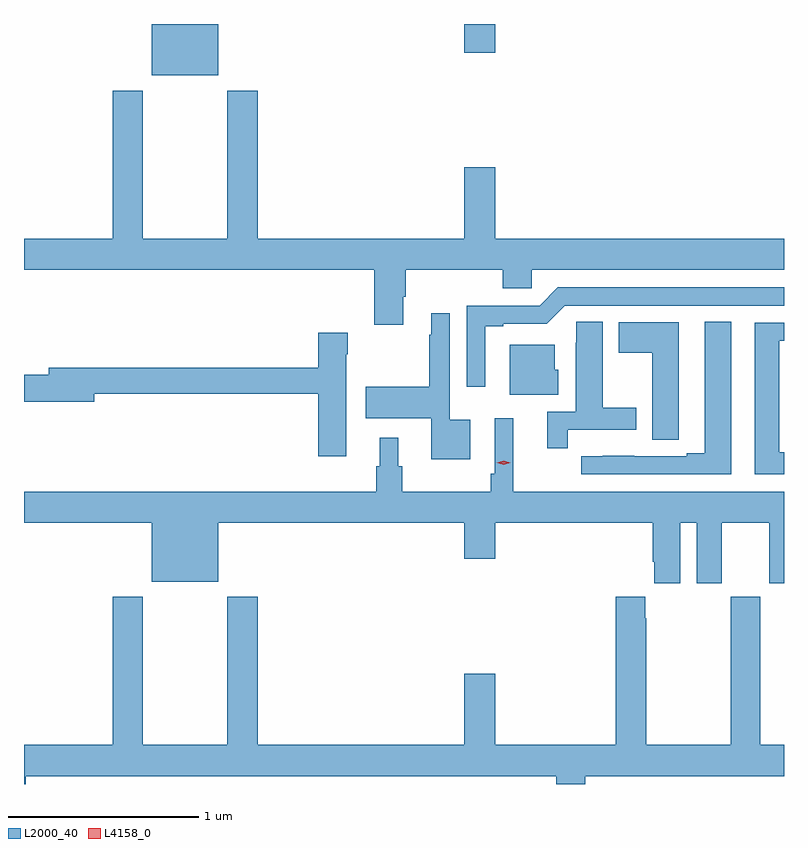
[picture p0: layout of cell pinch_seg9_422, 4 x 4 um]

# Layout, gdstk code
import gdstk
lib = gdstk.Library(unit=1e-6, precision=1e-09)
def R(c, l, rs):  # rectangles x0, y0, x1, y1
    for r in rs: c.add(gdstk.rectangle(r[:2], r[2:], *l))
def P(c, l, *ps):  # polygons
    for p in ps: c.add(gdstk.Polygon(p, *l))
L2000_40 = (2000, 40)
L4158_0 = (4158, 0)

pinch_seg9_422 = lib.new_cell('pinch_seg9_422')
R(pinch_seg9_422, L2000_40, [(139.388,1216.091,139.738,1216.362), (141.032,1216.212,141.196,1216.362)])
P(pinch_seg9_422, L2000_40, [(140.71,1214.926),(140.723,1214.926),(140.723,1215.068),(141.236,1215.068),(141.236,1214.97),(141.387,1214.97),(141.387,1215.068),(142.715,1215.068),(142.715,1215.232),(141.196,1215.232),(141.196,1215.607),(141.032,1215.607),(141.032,1215.232),(139.946,1215.232),(139.946,1216.012),(139.786,1216.012),(139.786,1215.232),(139.341,1215.232),(139.341,1216.012),(139.181,1216.012),(139.181,1215.232),(138.715,1215.232),(138.715,1215.068),(140.558,1215.068),(140.558,1214.778),(140.71,1214.778)],
  [(141.142,1214.772),(141.238,1214.772),(141.238,1214.784),(141.465,1214.784),(141.561,1214.88),(142.715,1214.88),(142.715,1214.976),(141.525,1214.976),(141.429,1214.88),(141.045,1214.88),(141.045,1214.454),(141.142,1214.454)],
  [(141.064,1214.278),(140.955,1214.278),(140.955,1214.839),(140.858,1214.839),(140.858,1214.726),(140.847,1214.726),(140.847,1214.454),(140.514,1214.454),(140.514,1214.288),(140.858,1214.288),(140.858,1214.072),(141.064,1214.072)],
  [(141.578,1214.226),(141.937,1214.226),(141.937,1214.343),(141.76,1214.343),(141.76,1214.795),(141.621,1214.795),(141.621,1214.684),(141.62,1214.684),(141.62,1214.322),(141.47,1214.322),(141.47,1214.13),(141.578,1214.13)],
  [(142.438,1214.795),(142.298,1214.795),(142.298,1214.103),(142.202,1214.103),(142.202,1214.088),(141.926,1214.088),(141.926,1214.089),(141.76,1214.089),(141.76,1214.088),(141.648,1214.088),(141.648,1213.992),(142.438,1213.992)],
  [(142.161,1214.281),(142.162,1214.281),(142.162,1214.791),(141.845,1214.791),(141.845,1214.632),(142.022,1214.632),(142.022,1214.173),(142.161,1214.173)],
  [(142.715,1214.108),(142.69,1214.108),(142.69,1214.694),(142.715,1214.694),(142.715,1214.79),(142.562,1214.79),(142.562,1213.992),(142.715,1213.992)],
  [(140.41,1214.624),(140.418,1214.624),(140.418,1214.737),(140.264,1214.737),(140.264,1214.552),(138.845,1214.552),(138.845,1214.516),(138.715,1214.516),(138.715,1214.374),(139.084,1214.374),(139.084,1214.416),(140.264,1214.416),(140.264,1214.088),(140.41,1214.088)],
  [(141.526,1214.541),(141.508,1214.541),(141.508,1214.674),(141.272,1214.674),(141.272,1214.411),(141.526,1214.411)],
  [(142.168,1213.736),(142.256,1213.736),(142.256,1213.419),(142.387,1213.419),(142.387,1213.736),(142.637,1213.736),(142.637,1213.419),(142.715,1213.419),(142.715,1213.9),(141.29,1213.9),(141.29,1214.287),(141.192,1214.287),(141.192,1213.996),(141.172,1213.996),(141.172,1213.9),(140.705,1213.9),(140.705,1214.034),(140.686,1214.034),(140.686,1214.185),(140.588,1214.185),(140.588,1214.034),(140.569,1214.034),(140.569,1213.9),(138.715,1213.9),(138.715,1213.736),(139.388,1213.736),(139.388,1213.427),(139.738,1213.427),(139.738,1213.736),(141.032,1213.736),(141.032,1213.548),(141.196,1213.548),(141.196,1213.736),(142.025,1213.736),(142.025,1213.531),(142.031,1213.531),(142.031,1213.419),(142.168,1213.419)],
  [(138.723,1212.404),(141.516,1212.404),(141.516,1212.362),(141.668,1212.362),(141.668,1212.404),(142.715,1212.404),(142.715,1212.568),(142.59,1212.568),(142.59,1213.348),(142.435,1213.348),(142.435,1212.568),(141.99,1212.568),(141.99,1213.235),(141.985,1213.235),(141.985,1213.348),(141.83,1213.348),(141.83,1212.568),(141.196,1212.568),(141.196,1212.943),(141.032,1212.943),(141.032,1212.568),(139.946,1212.568),(139.946,1213.348),(139.786,1213.348),(139.786,1212.568),(139.341,1212.568),(139.341,1213.348),(139.181,1213.348),(139.181,1212.568),(138.715,1212.568),(138.715,1212.362),(138.723,1212.362)])
P(pinch_seg9_422, L4158_0, [(141.239,1214.043),(141.204,1214.054),(141.203,1214.054),(141.204,1214.054),(141.239,1214.063),(141.274,1214.052),(141.274,1214.052),(141.274,1214.052)])

lib.write_gds('pinch_seg9_422.gds')
